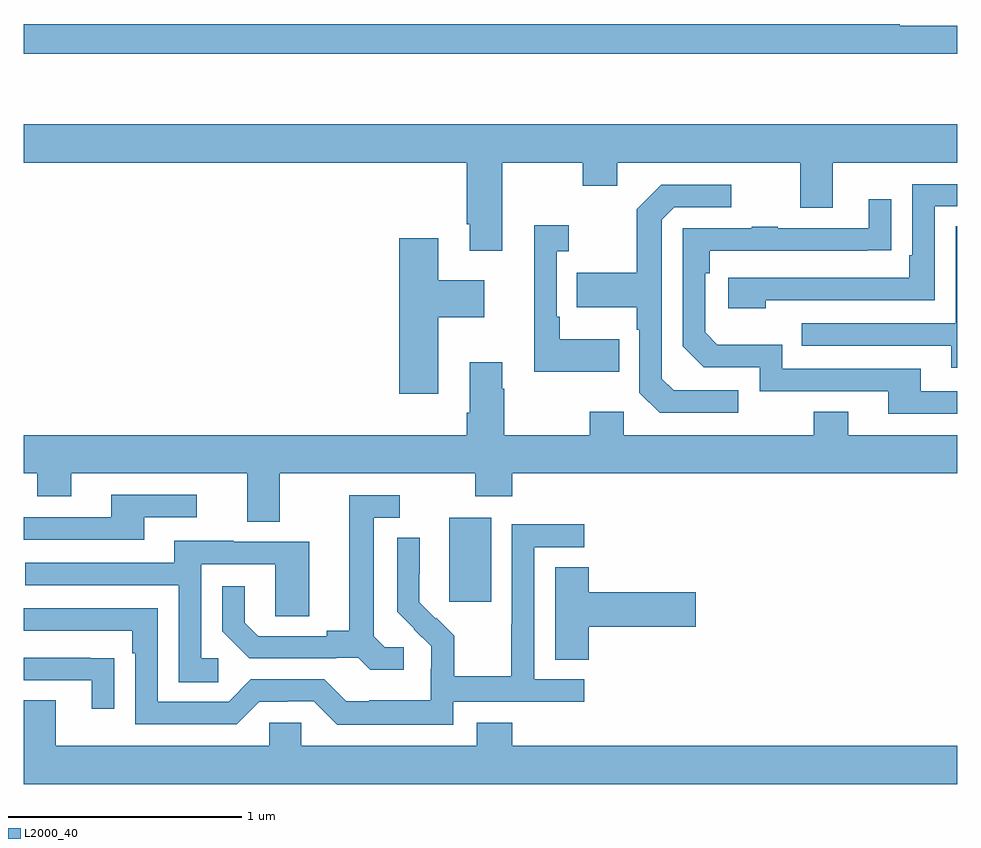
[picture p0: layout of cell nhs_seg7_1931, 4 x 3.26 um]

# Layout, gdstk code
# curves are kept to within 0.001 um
import gdstk
lib = gdstk.Library(unit=1e-6, precision=1e-09)
def R(c, l, rs):  # rectangles x0, y0, x1, y1
    for r in rs: c.add(gdstk.rectangle(r[:2], r[2:], *l))
def P(c, l, *ps):  # polygons
    for p in ps: c.add(gdstk.Polygon(p, *l))
L2000_40 = (2000, 40)

nhs_seg7_1931 = lib.new_cell('nhs_seg7_1931')
R(nhs_seg7_1931, L2000_40, [(240.824,1077.321,241.003,1077.682)])
P(nhs_seg7_1931, L2000_40, [(243,1079.791),(242.755,1079.791),(242.755,1079.798),(239,1079.798),(239,1079.67),(243,1079.67)],
  [(239,1079.204),(240.899,1079.204),(240.899,1078.939),(240.911,1078.939),(240.911,1078.827),(241.051,1078.827),(241.051,1079.204),(241.396,1079.204),(241.396,1079.105),(241.543,1079.105),(241.543,1079.204),(242.327,1079.204),(242.327,1079.01),(242.467,1079.01),(242.467,1079.204),(243,1079.204),(243,1079.368),(239,1079.368)],
  [(242.18,1078.614),(242.904,1078.614),(242.904,1079.016),(243,1079.016),(243,1079.112),(242.808,1079.112),(242.808,1078.807),(242.795,1078.807),(242.795,1078.71),(242.019,1078.71),(242.019,1078.58),(242.18,1078.58)],
  [(242.062,1078.227),(241.785,1078.227),(241.734,1078.278),(241.734,1078.959),(241.788,1079.013),(242.032,1079.013),(242.032,1079.109),(241.731,1079.109),(241.626,1079.003),(241.626,1078.731),(241.369,1078.731),(241.369,1078.583),(241.626,1078.583),(241.626,1078.487),(241.638,1078.487),(241.638,1078.218),(241.725,1078.131),(242.062,1078.131)],
  [(243,1078.224),(242.845,1078.224),(242.845,1078.32),(242.25,1078.32),(242.25,1078.423),(241.973,1078.423),(241.92,1078.476),(241.92,1078.73),(241.94,1078.73),(241.94,1078.827),(242.717,1078.828),(242.717,1079.047),(242.621,1079.047),(242.621,1078.923),(242.231,1078.923),(242.231,1078.928),(242.119,1078.928),(242.119,1078.923),(241.824,1078.923),(241.824,1078.416),(241.914,1078.326),(242.154,1078.326),(242.154,1078.224),(242.705,1078.224),(242.705,1078.128),(243,1078.128)],
  [(241.553,1078.447),(241.297,1078.447),(241.297,1078.543),(241.284,1078.543),(241.284,1078.823),(241.336,1078.823),(241.336,1078.936),(241.187,1078.936),(241.187,1078.307),(241.553,1078.307)],
  [(243,1078.931),(242.994,1078.931),(242.994,1078.515),(242.335,1078.515),(242.335,1078.419),(242.975,1078.419),(242.975,1078.325),(243,1078.325)],
  [(240.775,1078.541),(240.973,1078.541),(240.973,1078.699),(240.775,1078.699),(240.775,1078.879),(240.608,1078.879),(240.608,1078.212),(240.775,1078.212)],
  [(240.097,1077.872),(240.934,1077.872),(240.934,1077.773),(241.094,1077.773),(241.094,1077.872),(243,1077.872),(243,1078.036),(242.533,1078.036),(242.533,1078.135),(242.386,1078.135),(242.386,1078.036),(241.572,1078.036),(241.572,1078.135),(241.426,1078.135),(241.426,1078.036),(241.059,1078.036),(241.059,1078.235),(241.051,1078.235),(241.051,1078.348),(240.911,1078.348),(240.911,1078.132),(240.899,1078.132),(240.899,1078.036),(239,1078.036),(239,1077.872),(239.056,1077.872),(239.056,1077.773),(239.203,1077.773),(239.203,1077.872),(239.957,1077.872),(239.957,1077.664),(240.097,1077.664)],
  [(239.515,1077.684),(239.74,1077.684),(239.74,1077.78),(239.375,1077.78),(239.375,1077.684),(239,1077.684),(239,1077.588),(239.515,1077.588)],
  [(240.628,1077.126),(240.546,1077.126),(240.499,1077.173),(240.499,1077.681),(240.61,1077.681),(240.61,1077.777),(240.395,1077.777),(240.395,1077.197),(240.299,1077.197),(240.299,1077.174),(240.004,1077.174),(239.947,1077.231),(239.947,1077.388),(239.85,1077.388),(239.85,1077.194),(239.966,1077.078),(240.338,1077.078),(240.338,1077.081),(240.432,1077.081),(240.484,1077.029),(240.628,1077.029)],
  [(240.84,1076.892),(241.402,1076.892),(241.402,1076.988),(241.188,1076.988),(241.188,1077.555),(241.402,1077.555),(241.402,1077.654),(241.092,1077.654),(241.092,1077.224),(241.09,1077.224),(241.09,1077.001),(240.845,1077.001),(240.845,1077.175),(240.768,1077.252),(240.765,1077.249),(240.695,1077.32),(240.696,1077.596),(240.6,1077.596),(240.6,1077.278),(240.746,1077.13),(240.746,1077.033),(240.744,1077.033),(240.744,1076.899),(240.481,1076.899),(240.481,1076.895),(240.381,1076.895),(240.288,1076.988),(239.973,1076.988),(239.877,1076.892),(239.574,1076.892),(239.574,1077.294),(239,1077.294),(239,1077.198),(239.465,1077.198),(239.465,1077.101),(239.478,1077.101),(239.478,1076.796),(239.913,1076.796),(240.009,1076.892),(240.128,1076.892),(240.128,1076.895),(240.243,1076.895),(240.343,1076.795),(240.84,1076.795)],
  [(239.833,1077.078),(239.76,1077.078),(239.76,1077.483),(240.078,1077.483),(240.078,1077.259),(240.223,1077.259),(240.223,1077.579),(239.899,1077.579),(239.899,1077.583),(239.645,1077.583),(239.645,1077.489),(239.005,1077.489),(239.005,1077.393),(239.664,1077.393),(239.664,1076.977),(239.833,1076.977)],
  [(241.421,1077.215),(241.879,1077.215),(241.879,1077.362),(241.421,1077.362),(241.421,1077.47),(241.277,1077.47),(241.277,1077.073),(241.421,1077.073)],
  [(239.387,1077.08),(239.285,1077.08),(239.285,1077.081),(239,1077.081),(239,1076.985),(239.291,1076.985),(239.291,1076.862),(239.387,1076.862)],
  [(243,1076.704),(241.094,1076.704),(241.094,1076.803),(240.941,1076.803),(240.941,1076.704),(240.189,1076.704),(240.189,1076.802),(240.051,1076.802),(240.051,1076.704),(239.137,1076.704),(239.137,1076.899),(239,1076.899),(239,1076.54),(243,1076.54)])

lib.write_gds('nhs_seg7_1931.gds')
